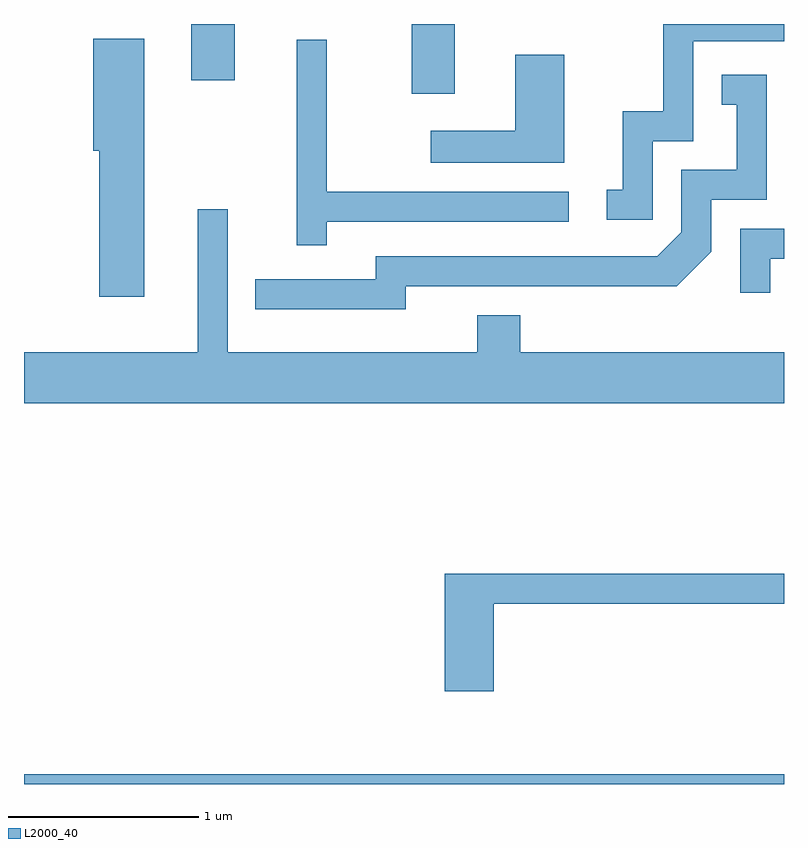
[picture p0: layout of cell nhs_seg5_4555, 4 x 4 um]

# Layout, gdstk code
import gdstk
lib = gdstk.Library(unit=1e-6, precision=1e-09)
def R(c, l, rs):  # rectangles x0, y0, x1, y1
    for r in rs: c.add(gdstk.rectangle(r[:2], r[2:], *l))
def P(c, l, *ps):  # polygons
    for p in ps: c.add(gdstk.Polygon(p, *l))
L2000_40 = (2000, 40)

nhs_seg5_4555 = lib.new_cell('nhs_seg5_4555')
R(nhs_seg5_4555, L2000_40, [(319.611,1508.072,323.611,1508.124), (321.651,1511.706,321.879,1512.072), (320.491,1511.776,320.719,1512.072)])
P(nhs_seg5_4555, L2000_40, [(322.919,1511.456),(323.134,1511.456),(323.134,1511.981),(323.611,1511.981),(323.611,1512.072),(322.976,1512.072),(322.976,1511.614),(322.761,1511.614),(322.761,1511.199),(322.678,1511.199),(322.678,1511.041),(322.919,1511.041)],
  [(320.244,1511.994),(319.976,1511.994),(319.976,1511.406),(320.006,1511.406),(320.006,1510.636),(320.244,1510.636)],
  [(321.204,1511.031),(322.478,1511.031),(322.478,1511.189),(321.204,1511.189),(321.204,1511.988),(321.046,1511.988),(321.046,1510.908),(321.204,1510.908)],
  [(322.454,1511.909),(322.196,1511.909),(322.196,1511.509),(321.753,1511.509),(321.753,1511.341),(322.454,1511.341)],
  [(321.619,1510.691),(323.047,1510.691),(323.229,1510.874),(323.229,1511.146),(323.519,1511.146),(323.519,1511.804),(323.283,1511.804),(323.283,1511.646),(323.361,1511.646),(323.361,1511.304),(323.071,1511.304),(323.071,1510.977),(322.944,1510.849),(321.461,1510.849),(321.461,1510.729),(320.828,1510.729),(320.828,1510.571),(321.619,1510.571)],
  [(323.611,1510.344),(322.224,1510.344),(322.224,1510.539),(321.996,1510.539),(321.996,1510.344),(320.684,1510.344),(320.684,1511.098),(320.526,1511.098),(320.526,1510.344),(319.611,1510.344),(319.611,1510.076),(323.611,1510.076)],
  [(323.539,1510.836),(323.611,1510.836),(323.611,1510.994),(323.381,1510.994),(323.381,1510.658),(323.539,1510.658)],
  [(322.084,1509.021),(323.611,1509.021),(323.611,1509.179),(321.826,1509.179),(321.826,1508.561),(322.084,1508.561)])

lib.write_gds('nhs_seg5_4555.gds')
